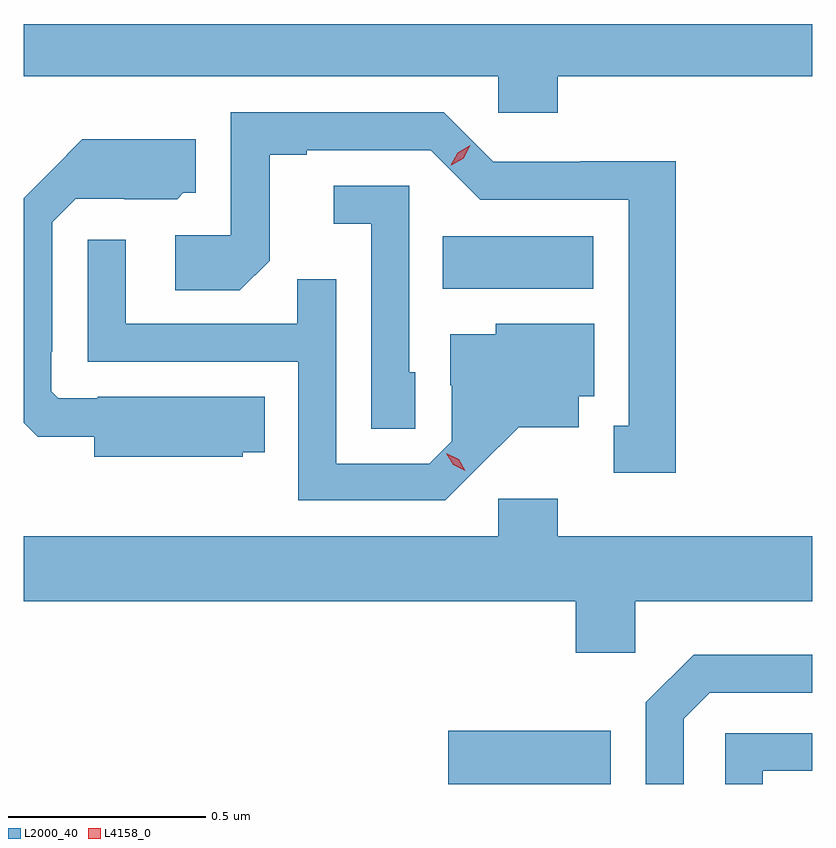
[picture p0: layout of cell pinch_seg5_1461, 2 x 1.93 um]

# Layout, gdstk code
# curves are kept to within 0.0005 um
import gdstk
lib = gdstk.Library(unit=1e-6, precision=1e-09)
def R(c, l, rs):  # rectangles x0, y0, x1, y1
    for r in rs: c.add(gdstk.rectangle(r[:2], r[2:], *l))
def P(c, l, *ps):  # polygons
    for p in ps: c.add(gdstk.Polygon(p, *l))
L2000_40 = (2000, 40)
L4158_0 = (4158, 0)

pinch_seg5_1461 = lib.new_cell('pinch_seg5_1461')
R(pinch_seg5_1461, L2000_40, [(124.95,913.572,125.362,913.707), (124.936,914.828,125.317,914.962)])
P(pinch_seg5_1461, L2000_40, [(125.228,915.368),(125.873,915.368),(125.873,915.5),(123.873,915.5),(123.873,915.368),(125.076,915.368),(125.076,915.275),(125.228,915.275)],
  [(125.527,915.152),(125.286,915.152),(125.286,915.15),(125.064,915.15),(124.938,915.276),(124.398,915.276),(124.398,914.964),(124.257,914.964),(124.257,914.824),(124.421,914.824),(124.497,914.9),(124.497,915.168),(124.591,915.168),(124.591,915.18),(124.905,915.18),(125.031,915.054),(125.408,915.054),(125.408,914.481),(125.369,914.481),(125.369,914.361),(125.527,914.361)],
  [(124.428,914.414),(124.484,914.414),(124.484,914.554),(124.06,914.554),(124.06,914.55),(123.96,914.55),(123.942,914.568),(123.942,914.668),(123.945,914.668),(123.945,914.997),(124.005,915.057),(124.128,915.057),(124.128,915.056),(124.262,915.056),(124.278,915.072),(124.309,915.072),(124.309,915.208),(124.021,915.208),(123.873,915.058),(123.873,914.488),(123.908,914.453),(124.052,914.453),(124.052,914.402),(124.428,914.402)],
  [(124.866,914.616),(124.851,914.616),(124.851,915.09),(124.659,915.09),(124.659,914.993),(124.755,914.993),(124.755,914.473),(124.866,914.473)],
  [(125.026,914.375),(125.129,914.477),(125.281,914.477),(125.281,914.556),(125.32,914.556),(125.32,914.74),(125.07,914.74),(125.07,914.713),(124.955,914.713),(124.955,914.584),(124.959,914.584),(124.959,914.442),(124.902,914.385),(124.665,914.385),(124.665,914.852),(124.567,914.852),(124.567,914.739),(124.131,914.739),(124.131,914.953),(124.035,914.953),(124.035,914.643),(124.569,914.643),(124.569,914.292),(124.942,914.292)],
  [(125.424,914.036),(125.873,914.036),(125.873,914.2),(125.228,914.2),(125.228,914.296),(125.076,914.296),(125.076,914.2),(123.873,914.2),(123.873,914.036),(125.273,914.036),(125.273,913.905),(125.424,913.905)],
  [(125.547,913.737),(125.613,913.803),(125.873,913.803),(125.873,913.9),(125.572,913.9),(125.451,913.779),(125.451,913.572),(125.547,913.572)],
  [(125.748,913.605),(125.873,913.605),(125.873,913.701),(125.652,913.701),(125.652,913.572),(125.748,913.572)])
P(pinch_seg5_1461, L4158_0, [(124.956,915.142),(124.956,915.142),(124.974,915.174),(125.006,915.193),(125.006,915.193),(125.006,915.193),(124.989,915.16),(124.957,915.142)],
  [(124.993,914.367),(124.962,914.382),(124.945,914.411),(124.945,914.411),(124.945,914.411),(124.976,914.396),(124.993,914.367),(124.993,914.367)])

lib.write_gds('pinch_seg5_1461.gds')
